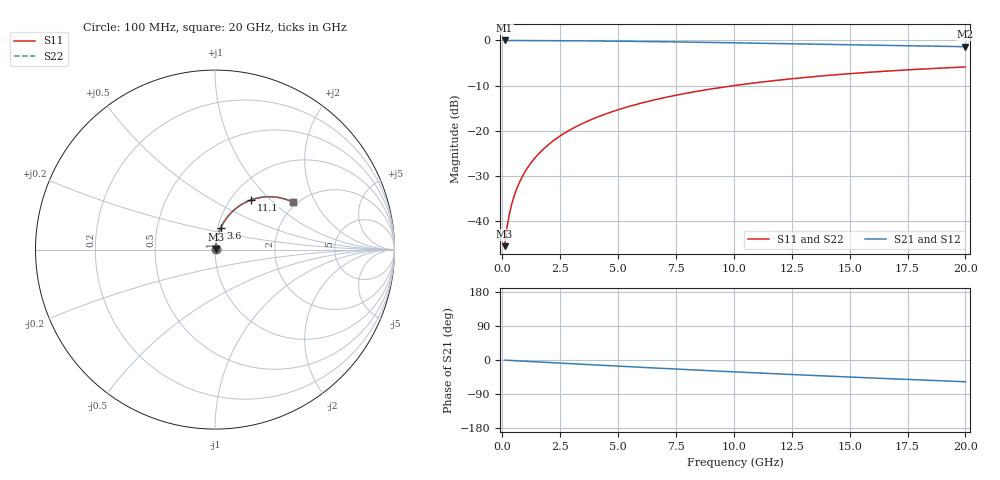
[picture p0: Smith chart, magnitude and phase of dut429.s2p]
! Touchstone file exported from HFSS 2026.1.0
!  File:  C:/ffzhzh/LocalFiles/Ansys_Project_Files/temp_train_BSMRDL_429_1783012889_55676.aedt
!  Generated:  01:23:13 AM Jul  3, 2026
!  Design:  BSMRDL
!  Project:  temp_train_BSMRDL_429_1783012889_55676
! Variables:
!  h_bsmrdl = 3.65um
!  h_ox = 20um
!  h_rdl = 5um
!  h_sub = 80um
!  h_tmrdl = 5um
!  h_tsv = 80um
!  h_via = 3um
!  l_bsmrdl = 868.52um
!  l_sub = 1268.52um
!  l_tmrdl = 200um
!  m_sub = 200um
!  pitch = 58.12um
!  r_tsv = 6um
!  s_tmrdl = 10um
!  w_bsmrdl = 24.1um
!  w_sub = 500um
!  w_tmrdl = 12um
!  x_tsv_center1 = 206um
!  x_tsv_center2 = 1098.62um
!  x_tsv_center3 = 1310.62um
!  x_tsv_center4 = 2203.24um
!  x_tsv_center5 = 2415.24um
!  x_tsv_center6 = 3307.86um
# GHz S MA R 50.000000
! Terminal data exported
! Port[1] = BSM_RDL1_1_T1
! Port[2] = BSM_RDL1_1_T2
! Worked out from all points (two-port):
!   200 points, 100 MHz to 20 GHz, reference 50 ohm
!   highest |S21| = -0.03 dB at 100 MHz (marker M1); lowest = -1.4 dB at 20 GHz (marker M2)
!   |S21| within 3 dB of the highest: start of sweep to end of sweep
!   lowest |S11| = -45.5 dB at 100 MHz (marker M3), VSWR 1.01, Z = 50.4 + j0.384 ohm
!   |S11| at or under -10 dB: start of sweep to 10.02 GHz
!   |S22| runs from -45.5 to -5.9 dB; largest |S21 - S12| = 1.4e-14
!   S11 on the Smith chart (normalised r, x): 100 MHz: 1.01, +0.01; 3.6 GHz: 1.03, +0.25; 11.1 GHz: 1.24, +0.78; 20 GHz: 1.90, +1.35
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0.1  0.005319 45.7  0.9963 -0.3  0.9963 -0.3  0.005319 45.7
! Gamma 0 0 0 0
! Port Impedance 50 0 50 0
0.2  0.008486 62.0  0.9961 -0.7  0.9961 -0.7  0.008486 62.0
0.3  0.01186 68.8  0.9958 -1.0  0.9958 -1.0  0.01186 68.8
0.4  0.01526 72.5  0.9956 -1.3  0.9956 -1.3  0.01526 72.5
0.5  0.01867 74.8  0.9955 -1.7  0.9955 -1.7  0.01867 74.8
0.6  0.02209 76.3  0.9953 -2.0  0.9953 -2.0  0.02209 76.4
0.8  0.02898 78.2  0.995 -2.7  0.995 -2.7  0.02898 78.2
1.1  0.03937 79.5  0.9945 -3.6  0.9945 -3.6  0.03936 79.5
1.5  0.05326 79.8  0.9937 -4.9  0.9937 -4.9  0.05325 79.8
2.1  0.07404 79.1  0.9921 -6.9  0.9921 -6.9  0.07403 79.1
2.7  0.09464 77.8  0.99 -8.9  0.99 -8.9  0.09464 77.8
3.5  0.1217 75.7  0.9865 -11.4  0.9865 -11.4  0.1217 75.7
3.6  0.1251 75.4  0.986 -11.8  0.986 -11.8  0.1251 75.5
4.3  0.1482 73.4  0.9824 -14.0  0.9824 -14.0  0.1482 73.5
5  0.1709 71.4  0.9782 -16.2  0.9782 -16.2  0.1709 71.4
6.8  0.2266 66.1  0.9656 -21.8  0.9656 -21.8  0.2266 66.1
8.3  0.2701 61.7  0.9536 -26.3  0.9536 -26.3  0.2701 61.8
10.1  0.3183 56.6  0.9378 -31.6  0.9378 -31.6  0.3183 56.7
11.1  0.3433 53.8  0.9287 -34.4  0.9287 -34.4  0.3433 53.9
13.4  0.3956 47.6  0.9073 -40.7  0.9073 -40.7  0.3955 47.7
16.7  0.4584 39.2  0.8772 -49.3  0.8772 -49.3  0.4583 39.3
20  0.5077 31.3  0.8499 -57.4  0.8499 -57.4  0.5076 31.5
